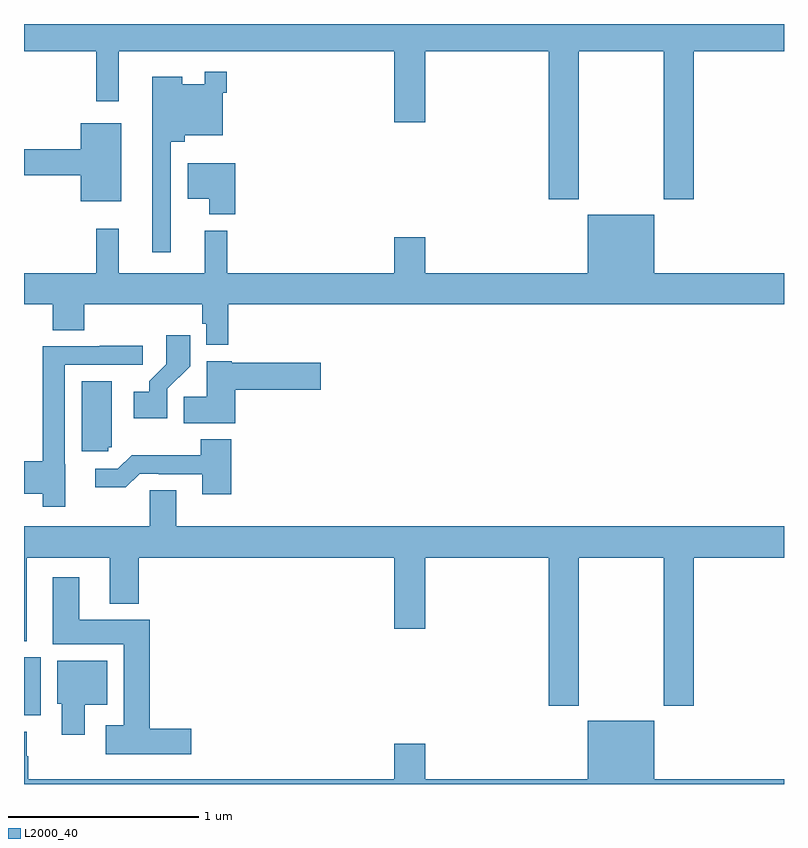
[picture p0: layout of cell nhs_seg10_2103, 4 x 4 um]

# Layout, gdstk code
import gdstk
lib = gdstk.Library(unit=1e-6, precision=1e-09)
def R(c, l, rs):  # rectangles x0, y0, x1, y1
    for r in rs: c.add(gdstk.rectangle(r[:2], r[2:], *l))
def P(c, l, *ps):  # polygons
    for p in ps: c.add(gdstk.Polygon(p, *l))
L2000_40 = (2000, 40)

nhs_seg10_2103 = lib.new_cell('nhs_seg10_2103')
R(nhs_seg10_2103, L2000_40, [(223,1256.861,223.087,1257.166)])
P(nhs_seg10_2103, L2000_40, [(225.921,1260.356),(226.366,1260.356),(226.366,1259.577),(226.526,1259.577),(226.526,1260.356),(227,1260.356),(227,1260.5),(223,1260.5),(223,1260.356),(223.381,1260.356),(223.381,1260.093),(223.498,1260.093),(223.498,1260.356),(224.948,1260.356),(224.948,1259.982),(225.112,1259.982),(225.112,1260.356),(225.761,1260.356),(225.761,1259.577),(225.921,1259.577)],
  [(223.773,1259.879),(223.847,1259.879),(223.847,1259.915),(224.046,1259.915),(224.046,1260.137),(224.066,1260.137),(224.066,1260.25),(223.95,1260.25),(223.95,1260.184),(223.834,1260.184),(223.834,1260.223),(223.676,1260.223),(223.676,1259.298),(223.773,1259.298)],
  [(223.513,1259.977),(223.298,1259.977),(223.298,1259.84),(223,1259.84),(223,1259.704),(223.298,1259.704),(223.298,1259.567),(223.513,1259.567)],
  [(224.111,1259.767),(223.862,1259.767),(223.862,1259.579),(223.976,1259.579),(223.976,1259.498),(224.111,1259.498)],
  [(224.075,1259.024),(227,1259.024),(227,1259.188),(226.318,1259.188),(226.318,1259.497),(225.968,1259.497),(225.968,1259.188),(225.112,1259.188),(225.112,1259.377),(224.948,1259.377),(224.948,1259.188),(224.069,1259.188),(224.069,1259.413),(223.952,1259.413),(223.952,1259.188),(223.499,1259.188),(223.499,1259.422),(223.381,1259.422),(223.381,1259.188),(223,1259.188),(223,1259.024),(223.151,1259.024),(223.151,1258.888),(223.316,1258.888),(223.316,1259.024),(223.939,1259.024),(223.939,1258.923),(223.959,1258.923),(223.959,1258.811),(224.075,1258.811)],
  [(223.755,1258.579),(223.874,1258.698),(223.874,1258.861),(223.749,1258.861),(223.749,1258.709),(223.658,1258.619),(223.658,1258.564),(223.578,1258.564),(223.578,1258.424),(223.755,1258.424)],
  [(223.216,1258.182),(223.215,1258.182),(223.215,1258.707),(223.624,1258.707),(223.624,1258.806),(223.399,1258.806),(223.399,1258.803),(223.099,1258.803),(223.099,1258.199),(223,1258.199),(223,1258.028),(223.099,1258.028),(223.099,1257.96),(223.216,1257.96)],
  [(224.111,1258.574),(224.563,1258.574),(224.563,1258.716),(224.094,1258.716),(224.094,1258.726),(223.961,1258.726),(223.961,1258.538),(223.84,1258.538),(223.84,1258.4),(224.111,1258.4)],
  [(223.443,1258.272),(223.462,1258.272),(223.462,1258.621),(223.304,1258.621),(223.304,1258.251),(223.443,1258.251)],
  [(224.09,1258.315),(223.93,1258.315),(223.93,1258.231),(223.567,1258.231),(223.494,1258.158),(223.374,1258.158),(223.374,1258.061),(223.535,1258.061),(223.608,1258.134),(223.708,1258.134),(223.708,1258.131),(223.937,1258.131),(223.937,1258.026),(224.09,1258.026)],
  [(223.801,1258.046),(223.662,1258.046),(223.662,1257.856),(223,1257.856),(223,1257.251),(223.015,1257.251),(223.015,1257.692),(223.451,1257.692),(223.451,1257.449),(223.604,1257.449),(223.604,1257.692),(224.948,1257.692),(224.948,1257.318),(225.112,1257.318),(225.112,1257.692),(225.761,1257.692),(225.761,1256.913),(225.921,1256.913),(225.921,1257.692),(226.366,1257.692),(226.366,1256.913),(226.526,1256.913),(226.526,1257.692),(227,1257.692),(227,1257.856),(223.801,1257.856)],
  [(223.879,1256.792),(223.661,1256.792),(223.661,1257.364),(223.291,1257.364),(223.291,1257.589),(223.151,1257.589),(223.151,1257.236),(223.526,1257.236),(223.526,1256.809),(223.431,1256.809),(223.431,1256.657),(223.879,1256.657)],
  [(223.321,1256.918),(223.438,1256.918),(223.438,1257.148),(223.175,1257.148),(223.175,1256.922),(223.199,1256.922),(223.199,1256.76),(223.321,1256.76)],
  [(227,1256.524),(226.318,1256.524),(226.318,1256.833),(225.968,1256.833),(225.968,1256.524),(225.112,1256.524),(225.112,1256.713),(224.948,1256.713),(224.948,1256.524),(223.023,1256.524),(223.023,1256.645),(223.015,1256.645),(223.015,1256.776),(223,1256.776),(223,1256.5),(227,1256.5)])

lib.write_gds('nhs_seg10_2103.gds')
